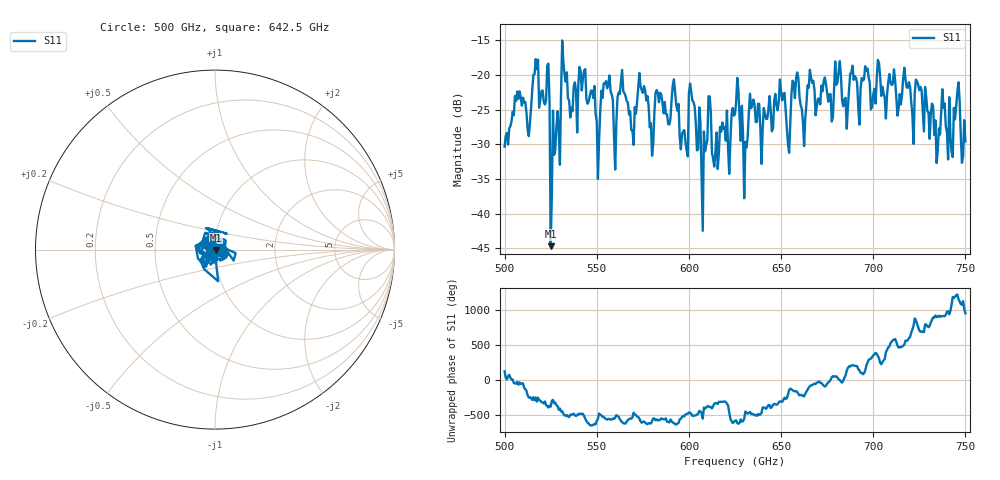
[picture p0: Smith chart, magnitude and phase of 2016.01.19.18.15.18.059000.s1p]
!Created with skrf (http://scikit-rf.org).
# GHz S RI R 50.0
!freq ReS11 ImS11
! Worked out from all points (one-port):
!   401 points, 500 GHz to 750 GHz, reference 50 ohm
!   lowest |S11| = -44.7 dB at 525 GHz (marker M1), VSWR 1.01, Z = 50.6 - j0.188 ohm
!   |S11| at or under -10 dB: start of sweep to end of sweep
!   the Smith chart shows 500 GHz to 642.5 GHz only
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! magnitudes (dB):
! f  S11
! 500 GHz  -30.3
! 506.9 GHz  -22.4
! 513.1 GHz  -28.8
! 516.9 GHz  -17.7
! 523.1 GHz  -18.6
! 525 GHz  -44.7
! 526.2 GHz  -25.1
! 531.2 GHz  -15.0
! 542.5 GHz  -20.4
! 550.6 GHz  -35.0
! 562.5 GHz  -22.7
! 568.8 GHz  -28.0
! 573.8 GHz  -21.7
! 593.8 GHz  -25.1
! 598.1 GHz  -29.8
! 601.2 GHz  -22.4
! 608.1 GHz  -28.1
! 610.6 GHz  -23.1
! 614.4 GHz  -31.1
! 625 GHz  -25.6
! 630.6 GHz  -29.7
! 634.4 GHz  -24.3
! 650.6 GHz  -23.7
! 653.8 GHz  -30.0
! 656.2 GHz  -20.8
! 687.5 GHz  -19.9
! 718.8 GHz  -21.9
! 750 GHz  -29.6
